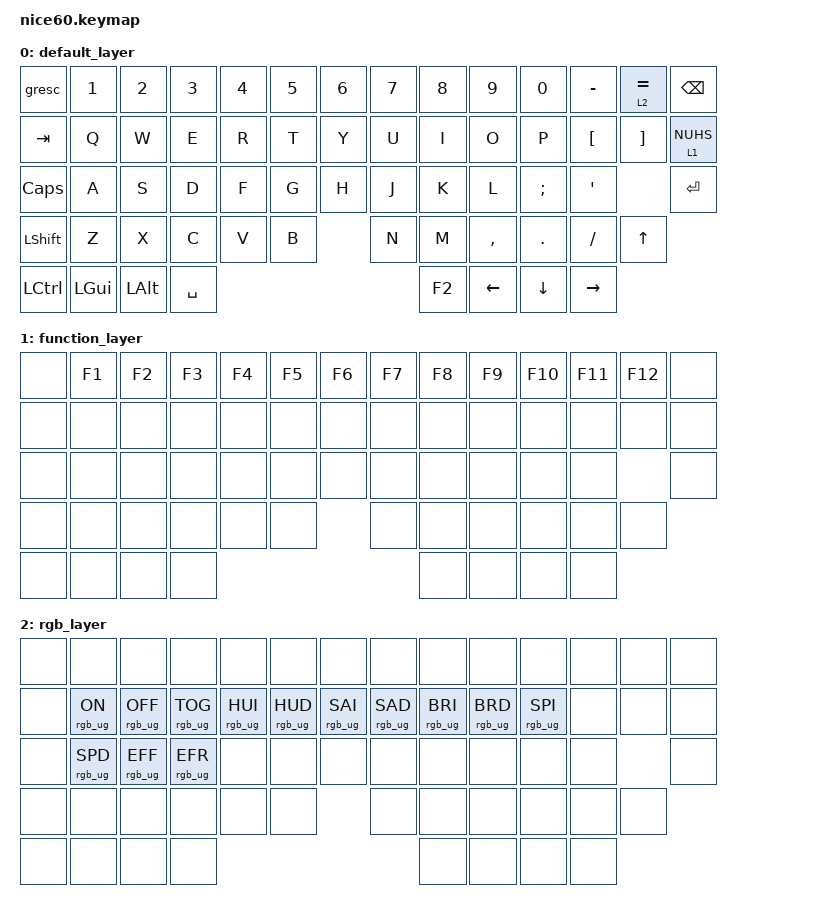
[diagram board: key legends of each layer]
/*
 * Copyright (c) 2021 Nick Winans
 *
 * SPDX-License-Identifier: MIT
 */

#include <behaviors.dtsi>
#include <dt-bindings/zmk/keys.h>
#include <dt-bindings/zmk/rgb.h>
#include <dt-bindings/zmk/bt.h>

/ {
    keymap {
        compatible = "zmk,keymap";

        default_layer {
// ------------------------------------------------------------------------------------------
// | ESC |  1  |  2  |  3  |  4  |  5  |  6  |  7  |  8  |  9  |  0  |  -  |  =  |   BSPC   |
// | TAB  |  Q  |  W  |  E  |  R  |  T  |  Y  |  U  |  I  |  O  |  P  |  [  |  ]  |   "#"   |
// | CAPS  |  A  |  S  |  D  |  F  |  G  |  H  |  J  |  K  |  L  |  ;  |  '  |     ENTER    |
// |  SHIFT  |  Z  |  X  |  C  |  V  |  B  |  N  |  M  |  ,  |  .  |  /  |      SHIFT       |
// |  CTL  |  WIN  |  ALT  |            SPACE              |  ALT  |  MENU  |  WIN  |  CTL  |
// ------------------------------------------------------------------------------------------
            bindings = <
    &gresc  &kp N1 &kp N2 &kp N3 &kp N4 &kp N5 &kp N6 &kp N7 &kp N8 &kp N9 &kp N0 &kp MINUS &lt 2 EQUAL  &kp BSPC
    &kp TAB  &kp Q  &kp W  &kp E  &kp R  &kp T  &kp Y  &kp U  &kp I  &kp O  &kp P  &kp LBKT  &kp RBKT  &lt 1 NUHS
    &kp CLCK  &kp A  &kp S  &kp D  &kp F  &kp G  &kp H  &kp J  &kp K  &kp L  &kp SEMI &kp SQT           &kp RET
    &kp LSHFT   &kp Z  &kp X  &kp C  &kp V  &kp B  &kp N  &kp M  &kp COMMA &kp DOT &kp FSLH           &kp UP
    &kp LCTRL &kp LGUI &kp LALT             &kp SPACE                     &kp F2  &kp LEFT  &kp DOWN  &kp RIGHT
            >;
        };

         function_layer {
            bindings = <
    &none  &kp F1 &kp F2 &kp F3 &kp F4 &kp F5 &kp F6 &kp F7 &kp F8 &kp F9 &kp F10 &kp F11 &kp F12  &none
    &none  &none  &none  &none  &none  &none  &none  &none  &none  &none  &none  &none  &none  &none
    &none  &none  &none  &none  &none  &none  &none  &none  &none  &none  &none &none           &none
    &none   &none  &none  &none  &none  &none  &none  &none  &none &none &none           &none
    &none &none &none             &none                     &none  &none  &none  &none
            >;
        };

        rgb_layer {
            bindings = <
    &none  &none &none &none &none &none &none &none &none &none &none &none &none  &none
    &none  &rgb_ug RGB_ON  &rgb_ug RGB_OFF  &rgb_ug RGB_TOG  &rgb_ug RGB_HUI  &rgb_ug RGB_HUD  &rgb_ug RGB_SAI  &rgb_ug RGB_SAD  &rgb_ug RGB_BRI  &rgb_ug RGB_BRD  &rgb_ug RGB_SPI  &none  &none  &none
    &none  &rgb_ug RGB_SPD  &rgb_ug RGB_EFF  &rgb_ug RGB_EFR  &none  &none  &none  &none  &none  &none  &none &none           &none
    &none   &none  &none  &none  &none  &none  &none  &none  &none &none &none           &none
    &none &none &none             &none                     &none  &none  &none  &none
            >;
        };
    };
};
